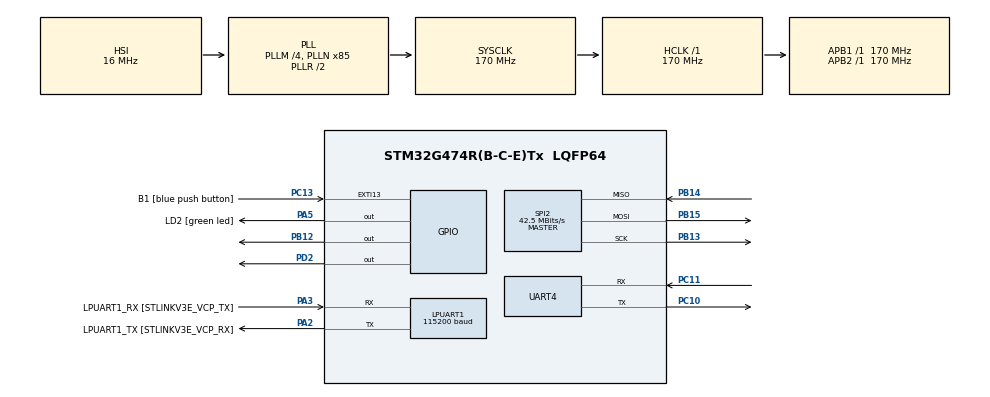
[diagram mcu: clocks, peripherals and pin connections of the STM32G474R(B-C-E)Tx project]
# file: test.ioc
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Mcu.Family=STM32G4
RCC.CortexFreq_Value=170000000
SPI2.VirtualType=VM_MASTER
PC10.Signal=UART4_TX
PA14.GPIO_Label=T_SWCLK
LPUART1.WordLength=UART_WORDLENGTH_8B
PC13.GPIO_Label=B1 [blue push button]
PB13.Signal=SPI2_SCK
PB15.Signal=SPI2_MOSI
RCC.SYSCLKSource=RCC_SYSCLKSOURCE_PLLCLK
ProjectManager.StackSize=0x400
RCC.HCLKFreq_Value=170000000
RCC.APB2TimFreq_Value=170000000
RCC.AHBFreq_Value=170000000
SPI2.BaudRatePrescaler=SPI_BAUDRATEPRESCALER_4
NVIC.EXTI15_10_IRQn=true\:0\:0\:false\:false\:true\:true\:true
RCC.HSE_VALUE=24000000
RCC.RTCClockSelection=RCC_RTCCLKSOURCE_LSE
RCC.ADC12Freq_Value=170000000
PA14.Mode=Serial_Wire
PB14.Mode=Full_Duplex_Master
SPI2.CalculateBaudRate=42.5 MBits/s
VP_SYS_VS_DBSignals.Mode=DisableDeadBatterySignals
Mcu.Package=LQFP64
SPI2.Mode=SPI_MODE_MASTER
PA2.GPIO_Label=LPUART1_TX [STLINKV3E_VCP_RX]
PC11.Mode=Asynchronous
RCC.APB1TimFreq_Value=170000000
SPI2.Direction=SPI_DIRECTION_2LINES
PB13.Mode=Full_Duplex_Master
PF1-OSC_OUT.Mode=HSE-External-Oscillator
PF1-OSC_OUT.Signal=RCC_OSC_OUT
RCC.HSI48_VALUE=48000000
PA3.Signal=LPUART1_RX
PB3.GPIO_Label=T_SWO
PC13.Signal=GPXTI13
PC11.Signal=UART4_RX
PC10.Mode=Asynchronous
RCC.EXTERNAL_CLOCK_VALUE=12288000
PC14-OSC32_IN.Signal=RCC_OSC32_IN
PA13.Signal=SYS_JTMS-SWDIO
PA3.Mode=Asynchronous
ProjectManager.TargetToolchain=STM32CubeIDE
RCC.USBFreq_Value=170000000
RCC.LSE_VALUE=32768
PC15-OSC32_OUT.Signal=RCC_OSC32_OUT
PF0-OSC_IN.Mode=HSE-External-Oscillator
PB14.Signal=SPI2_MISO
PA5.Signal=GPIO_Output
board=NUCLEO-G474RE
RCC.VCOOutputFreq_Value=340000000
PB15.Mode=Full_Duplex_Master
RCC.ADC345Freq_Value=170000000
RCC.APB2Freq_Value=170000000
PA13.Mode=Serial_Wire
Mcu.Name=STM32G474R(B-C-E)Tx
LPUART1.BaudRate=115200
PA13.GPIO_Label=T_SWDIO
PA2.Signal=LPUART1_TX
PB3.Signal=SYS_JTDO-SWO
RCC.SYSCLKFreq_VALUE=170000000
PA5.GPIO_Label=LD2 [green led]
PA14.Signal=SYS_JTCK-SWCLK
ProjectManager.HeapSize=0x200
RCC.HSI_VALUE=16000000
NVIC.PriorityGroup=NVIC_PRIORITYGROUP_4
RCC.PLLM=RCC_PLLM_DIV4
RCC.PLLN=85
PA2.Mode=Asynchronous
SPI2.DataSize=SPI_DATASIZE_8BIT
PF0-OSC_IN.Signal=RCC_OSC_IN
PD2.Signal=GPIO_Output
RCC.APB1Freq_Value=170000000
PB12.Signal=GPIO_Output
PA3.GPIO_Label=LPUART1_RX [STLINKV3E_VCP_TX]

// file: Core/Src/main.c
/* USER CODE BEGIN Header */
/**
  ******************************************************************************
  * @file           : main.c
  * @brief          : Main program body
  ******************************************************************************
  * @attention
  *
  * <h2><center>&copy; Copyright (c) 2021 STMicroelectronics.
  * All rights reserved.</center></h2>
  *
  * This software component is licensed by ST under BSD 3-Clause license,
  * the "License"; You may not use this file except in compliance with the
  * License. You may obtain a copy of the License at:
  *                        opensource.org/licenses/BSD-3-Clause
  *
  ******************************************************************************
  */
/* USER CODE END Header */
#include "main.h"

/* USER CODE BEGIN Includes */
#include "wizchip_conf.h"
#include "socket.h"
#include <string.h>
#include <stdio.h>
/* USER CODE END Includes */

/* USER CODE BEGIN PD */
#define SEPARATOR            "=============================================\r\n"
#define WELCOME_MSG  		 "WELCOME"
#define NETWORK_MSG  		 "Network configuration:\r\n"
#define IP_MSG 		 		 "  IP ADDRESS:  %d.%d.%d.%d\r\n"
#define NETMASK_MSG	         "  NETMASK:     %d.%d.%d.%d\r\n"
#define GW_MSG 		 		 "  GATEWAY:     %d.%d.%d.%d\r\n"
#define MAC_MSG		 		 "  MAC ADDRESS: %x:%x:%x:%x:%x:%x\r\n"
#define GREETING_MSG 		 "PING \r\n"
#define CONN_ESTABLISHED_MSG "Connection established with remote IP: %d.%d.%d.%d:%d\r\n"
#define SENT_MESSAGE_MSG	 "Sent a message\r\n"
#define WRONG_RETVAL_MSG	 "Something went wrong; return value: %d\r\n"
#define WRONG_STATUS_MSG	 "Something went wrong; STATUS: %d\r\n"
#define LISTEN_ERR_MSG		 "LISTEN Error!\r\n"

#define PRINT_STR(msg) do  {										\
  HAL_UART_Transmit(&huart4, (uint8_t*)msg, strlen(msg), 100);		\
} while(0)

#define PRINT_HEADER() do  {													\
  HAL_UART_Transmit(&huart4, (uint8_t*)SEPARATOR, strlen(SEPARATOR), 100);		\
  HAL_UART_Transmit(&huart4, (uint8_t*)WELCOME_MSG, strlen(WELCOME_MSG), 100);	\
  HAL_UART_Transmit(&huart4, (uint8_t*)SEPARATOR, strlen(SEPARATOR), 100);		\
} while(0)

#define PRINT_NETINFO(netInfo) do { 																					\
  HAL_UART_Transmit(&huart4, (uint8_t*)NETWORK_MSG, strlen(NETWORK_MSG), 100);											\
  sprintf(msg, MAC_MSG, netInfo.mac[0], netInfo.mac[1], netInfo.mac[2], netInfo.mac[3], netInfo.mac[4], netInfo.mac[5]);\
  HAL_UART_Transmit(&huart4, (uint8_t*)msg, strlen(msg), 100);															\
  sprintf(msg, IP_MSG, netInfo.ip[0], netInfo.ip[1], netInfo.ip[2], netInfo.ip[3]);										\
  HAL_UART_Transmit(&huart4, (uint8_t*)msg, strlen(msg), 100);															\
  sprintf(msg, NETMASK_MSG, netInfo.sn[0], netInfo.sn[1], netInfo.sn[2], netInfo.sn[3]);								\
  HAL_UART_Transmit(&huart4, (uint8_t*)msg, strlen(msg), 100);															\
  sprintf(msg, GW_MSG, netInfo.gw[0], netInfo.gw[1], netInfo.gw[2], netInfo.gw[3]);										\
  HAL_UART_Transmit(&huart4, (uint8_t*)msg, strlen(msg), 100);															\
} while(0)
/* USER CODE END PD */

UART_HandleTypeDef hlpuart1;
UART_HandleTypeDef huart4;

SPI_HandleTypeDef hspi2;

void SystemClock_Config(void);
static void MX_GPIO_Init(void);
static void MX_LPUART1_UART_Init(void);
static void MX_UART4_Init(void);
static void MX_SPI2_Init(void);
/* USER CODE BEGIN PFP */
void cs_sel() {
	HAL_GPIO_WritePin(GPIOB, GPIO_PIN_12, GPIO_PIN_RESET); //CS LOW
}

void cs_desel() {
	HAL_GPIO_WritePin(GPIOB, GPIO_PIN_12, GPIO_PIN_SET); //CS HIGH
}

uint8_t spi_rb(void) {
	uint8_t rbuf;
	HAL_SPI_Receive(&hspi2, &rbuf, 1, 0xFFFFFFFF);
	return rbuf;
}

void spi_wb(uint8_t b) {
	HAL_SPI_Transmit(&hspi2, &b, 1, 0xFFFFFFFF);
}
/* USER CODE END PFP */

int main(void)
{
  /* USER CODE BEGIN 1 */
	uint8_t retVal, sockStatus;
	  int16_t rcvLen;
	  uint8_t rcvBuf[20], bufSize[] = {2, 2, 2, 2};
	  char msg[60];
  /* USER CODE END 1 */

  /* MCU Configuration--------------------------------------------------------*/

  /* Reset of all peripherals, Initializes the Flash interface and the Systick. */
  HAL_Init();

  /* Configure the system clock */
  SystemClock_Config();

  /* Initialize all configured peripherals */
  MX_GPIO_Init();
  MX_LPUART1_UART_Init();
  MX_UART4_Init();
  MX_SPI2_Init();
  /* USER CODE BEGIN 2 */
  reg_wizchip_cs_cbfunc(cs_sel, cs_desel);
    reg_wizchip_spi_cbfunc(spi_rb, spi_wb);

    wizchip_init(bufSize, bufSize);
    wiz_NetInfo netInfo = { .mac 	= {0x00, 0x08, 0xdc, 0xab, 0xcd, 0xef},	// Mac address
                            .ip 	= {192, 168, 2, 192},					// IP address
                            .sn 	= {255, 255, 255, 0},					// Subnet mask
                            .gw 	= {192, 168, 2, 1}};					// Gateway address
    wizchip_setnetinfo(&netInfo);
    wizchip_getnetinfo(&netInfo);

  reconnect:
    /* Open socket 0 as TCP_SOCKET with port 5000 */
    if((retVal = socket(0, Sn_MR_UDP, 5000, 0)) == 0) {
  	  /* Put socket in LISTEN mode. This means we are creating a TCP server */
  	  if((retVal = listen(0)) == SOCK_OK) {
  		  /* While socket is in LISTEN mode we wait for a remote connection */
  		  while(sockStatus = getSn_SR(0) == SOCK_LISTEN)
  			  HAL_Delay(100);
  		  /* OK. Got a remote peer. Let's send a message to it */
  		  while(1) {
  			  /* If connection is ESTABLISHED with remote peer */
  			  if(sockStatus = getSn_SR(0) == SOCK_ESTABLISHED) {
  				  uint8_t remoteIP[4];
  				  uint16_t remotePort;
  				  /* Retrieving remote peer IP and port number */
  				  getsockopt(0, SO_DESTIP, remoteIP);
  				  getsockopt(0, SO_DESTPORT, (uint8_t*)&remotePort);
  				  sprintf(msg, CONN_ESTABLISHED_MSG, remoteIP[0], remoteIP[1], remoteIP[2], remoteIP[3], remotePort);
  				  HAL_UART_Transmit(&huart4, (uint8_t*)msg, strlen(msg), 100);
  				  /* Let's send a welcome message and closing socket */
  				  if(retVal = send(0, GREETING_MSG, strlen(GREETING_MSG)) == (int16_t)strlen(GREETING_MSG))
  					HAL_UART_Transmit(&huart4, (uint8_t*)SENT_MESSAGE_MSG, strlen(SENT_MESSAGE_MSG), 100);
  				  else { /* Ops: something went wrong during data transfer */
  					  sprintf(msg, WRONG_RETVAL_MSG, retVal);
  					  HAL_UART_Transmit(&huart4, (uint8_t*)msg, strlen(msg), 100);
  				  }
  				  break;
  			  }
  			  else { /* Something went wrong with remote peer, maybe the connection was closed unexpectedly */
  				  sprintf(msg, WRONG_STATUS_MSG, sockStatus);
  				  HAL_UART_Transmit(&huart4, (uint8_t*)msg, strlen(msg), 100);
  				  break;
  			  }
  		  }

  	  } else /* Ops: socket not in LISTEN mode. Something went wrong */
  		  PRINT_STR(LISTEN_ERR_MSG);
    } else { /* Can't open the socket. This means something is wrong with W5100 configuration: maybe SPI issue? */
  	  sprintf(msg, WRONG_RETVAL_MSG, retVal);
  	  HAL_UART_Transmit(&huart4, (uint8_t*)msg, strlen(msg), 100);
    }

    /* We close the socket and start a connection again */
    disconnect(0);
    close(0);
    goto reconnect;
  /* USER CODE END 2 */

  /* Infinite loop */
  while (1)
  {

  }
}

void SystemClock_Config(void)
{
  RCC_OscInitTypeDef RCC_OscInitStruct = {0};
  RCC_ClkInitTypeDef RCC_ClkInitStruct = {0};
  RCC_PeriphCLKInitTypeDef PeriphClkInit = {0};

  /** Configure the main internal regulator output voltage
  */
  HAL_PWREx_ControlVoltageScaling(PWR_REGULATOR_VOLTAGE_SCALE1_BOOST);
  /** Initializes the RCC Oscillators according to the specified parameters
  * in the RCC_OscInitTypeDef structure.
  */
  RCC_OscInitStruct.OscillatorType = RCC_OSCILLATORTYPE_HSI;
  RCC_OscInitStruct.HSIState = RCC_HSI_ON;
  RCC_OscInitStruct.HSICalibrationValue = RCC_HSICALIBRATION_DEFAULT;
  RCC_OscInitStruct.PLL.PLLState = RCC_PLL_ON;
  RCC_OscInitStruct.PLL.PLLSource = RCC_PLLSOURCE_HSI;
  RCC_OscInitStruct.PLL.PLLM = RCC_PLLM_DIV4;
  RCC_OscInitStruct.PLL.PLLN = 85;
  RCC_OscInitStruct.PLL.PLLP = RCC_PLLP_DIV2;
  RCC_OscInitStruct.PLL.PLLQ = RCC_PLLQ_DIV2;
  RCC_OscInitStruct.PLL.PLLR = RCC_PLLR_DIV2;
  if (HAL_RCC_OscConfig(&RCC_OscInitStruct) != HAL_OK)
  {
    Error_Handler();
  }
  /** Initializes the CPU, AHB and APB buses clocks
  */
  RCC_ClkInitStruct.ClockType = RCC_CLOCKTYPE_HCLK|RCC_CLOCKTYPE_SYSCLK
                              |RCC_CLOCKTYPE_PCLK1|RCC_CLOCKTYPE_PCLK2;
  RCC_ClkInitStruct.SYSCLKSource = RCC_SYSCLKSOURCE_PLLCLK;
  RCC_ClkInitStruct.AHBCLKDivider = RCC_SYSCLK_DIV1;
  RCC_ClkInitStruct.APB1CLKDivider = RCC_HCLK_DIV1;
  RCC_ClkInitStruct.APB2CLKDivider = RCC_HCLK_DIV1;

  if (HAL_RCC_ClockConfig(&RCC_ClkInitStruct, FLASH_LATENCY_4) != HAL_OK)
  {
    Error_Handler();
  }
  /** Initializes the peripherals clocks
  */
  PeriphClkInit.PeriphClockSelection = RCC_PERIPHCLK_UART4|RCC_PERIPHCLK_LPUART1;
  PeriphClkInit.Uart4ClockSelection = RCC_UART4CLKSOURCE_PCLK1;
  PeriphClkInit.Lpuart1ClockSelection = RCC_LPUART1CLKSOURCE_PCLK1;
  if (HAL_RCCEx_PeriphCLKConfig(&PeriphClkInit) != HAL_OK)
  {
    Error_Handler();
  }
}

static void MX_LPUART1_UART_Init(void)
{

  hlpuart1.Instance = LPUART1;
  hlpuart1.Init.BaudRate = 115200;
  hlpuart1.Init.WordLength = UART_WORDLENGTH_8B;
  hlpuart1.Init.StopBits = UART_STOPBITS_1;
  hlpuart1.Init.Parity = UART_PARITY_NONE;
  hlpuart1.Init.Mode = UART_MODE_TX_RX;
  hlpuart1.Init.HwFlowCtl = UART_HWCONTROL_NONE;
  hlpuart1.Init.OneBitSampling = UART_ONE_BIT_SAMPLE_DISABLE;
  hlpuart1.Init.ClockPrescaler = UART_PRESCALER_DIV1;
  hlpuart1.AdvancedInit.AdvFeatureInit = UART_ADVFEATURE_NO_INIT;
  if (HAL_UART_Init(&hlpuart1) != HAL_OK)
  {
    Error_Handler();
  }
  if (HAL_UARTEx_SetTxFifoThreshold(&hlpuart1, UART_TXFIFO_THRESHOLD_1_8) != HAL_OK)
  {
    Error_Handler();
  }
  if (HAL_UARTEx_SetRxFifoThreshold(&hlpuart1, UART_RXFIFO_THRESHOLD_1_8) != HAL_OK)
  {
    Error_Handler();
  }
  if (HAL_UARTEx_DisableFifoMode(&hlpuart1) != HAL_OK)
  {
    Error_Handler();
  }

}

static void MX_UART4_Init(void)
{

  huart4.Instance = UART4;
  huart4.Init.BaudRate = 115200;
  huart4.Init.WordLength = UART_WORDLENGTH_8B;
  huart4.Init.StopBits = UART_STOPBITS_1;
  huart4.Init.Parity = UART_PARITY_NONE;
  huart4.Init.Mode = UART_MODE_TX_RX;
  huart4.Init.HwFlowCtl = UART_HWCONTROL_NONE;
  huart4.Init.OverSampling = UART_OVERSAMPLING_16;
  huart4.Init.OneBitSampling = UART_ONE_BIT_SAMPLE_DISABLE;
  huart4.Init.ClockPrescaler = UART_PRESCALER_DIV1;
  huart4.AdvancedInit.AdvFeatureInit = UART_ADVFEATURE_NO_INIT;
  if (HAL_UART_Init(&huart4) != HAL_OK)
  {
    Error_Handler();
  }
  if (HAL_UARTEx_SetTxFifoThreshold(&huart4, UART_TXFIFO_THRESHOLD_1_8) != HAL_OK)
  {
    Error_Handler();
  }
  if (HAL_UARTEx_SetRxFifoThreshold(&huart4, UART_RXFIFO_THRESHOLD_1_8) != HAL_OK)
  {
    Error_Handler();
  }
  if (HAL_UARTEx_DisableFifoMode(&huart4) != HAL_OK)
  {
    Error_Handler();
  }

}

static void MX_SPI2_Init(void)
{

  /* SPI2 parameter configuration*/
  hspi2.Instance = SPI2;
  hspi2.Init.Mode = SPI_MODE_MASTER;
  hspi2.Init.Direction = SPI_DIRECTION_2LINES;
  hspi2.Init.DataSize = SPI_DATASIZE_8BIT;
  hspi2.Init.CLKPolarity = SPI_POLARITY_LOW;
  hspi2.Init.CLKPhase = SPI_PHASE_1EDGE;
  hspi2.Init.NSS = SPI_NSS_SOFT;
  hspi2.Init.BaudRatePrescaler = SPI_BAUDRATEPRESCALER_4;
  hspi2.Init.FirstBit = SPI_FIRSTBIT_MSB;
  hspi2.Init.TIMode = SPI_TIMODE_DISABLE;
  hspi2.Init.CRCCalculation = SPI_CRCCALCULATION_DISABLE;
  hspi2.Init.CRCPolynomial = 7;
  hspi2.Init.CRCLength = SPI_CRC_LENGTH_DATASIZE;
  hspi2.Init.NSSPMode = SPI_NSS_PULSE_ENABLE;
  if (HAL_SPI_Init(&hspi2) != HAL_OK)
  {
    Error_Handler();
  }

}

static void MX_GPIO_Init(void)
{
  GPIO_InitTypeDef GPIO_InitStruct = {0};

  /* GPIO Ports Clock Enable */
  __HAL_RCC_GPIOC_CLK_ENABLE();
  __HAL_RCC_GPIOF_CLK_ENABLE();
  __HAL_RCC_GPIOA_CLK_ENABLE();
  __HAL_RCC_GPIOB_CLK_ENABLE();
  __HAL_RCC_GPIOD_CLK_ENABLE();

  /*Configure GPIO pin Output Level */
  HAL_GPIO_WritePin(LD2_GPIO_Port, LD2_Pin, GPIO_PIN_RESET);

  /*Configure GPIO pin Output Level */
  HAL_GPIO_WritePin(GPIOB, GPIO_PIN_12, GPIO_PIN_RESET);

  /*Configure GPIO pin Output Level */
  HAL_GPIO_WritePin(GPIOD, GPIO_PIN_2, GPIO_PIN_RESET);

  /*Configure GPIO pin : B1_Pin */
  GPIO_InitStruct.Pin = B1_Pin;
  GPIO_InitStruct.Mode = GPIO_MODE_IT_RISING;
  GPIO_InitStruct.Pull = GPIO_NOPULL;
  HAL_GPIO_Init(B1_GPIO_Port, &GPIO_InitStruct);

  /*Configure GPIO pin : LD2_Pin */
  GPIO_InitStruct.Pin = LD2_Pin;
  GPIO_InitStruct.Mode = GPIO_MODE_OUTPUT_PP;
  GPIO_InitStruct.Pull = GPIO_NOPULL;
  GPIO_InitStruct.Speed = GPIO_SPEED_FREQ_LOW;
  HAL_GPIO_Init(LD2_GPIO_Port, &GPIO_InitStruct);

  /*Configure GPIO pin : PB12 */
  GPIO_InitStruct.Pin = GPIO_PIN_12;
  GPIO_InitStruct.Mode = GPIO_MODE_OUTPUT_PP;
  GPIO_InitStruct.Pull = GPIO_NOPULL;
  GPIO_InitStruct.Speed = GPIO_SPEED_FREQ_LOW;
  HAL_GPIO_Init(GPIOB, &GPIO_InitStruct);

  /*Configure GPIO pin : PD2 */
  GPIO_InitStruct.Pin = GPIO_PIN_2;
  GPIO_InitStruct.Mode = GPIO_MODE_OUTPUT_PP;
  GPIO_InitStruct.Pull = GPIO_NOPULL;
  GPIO_InitStruct.Speed = GPIO_SPEED_FREQ_LOW;
  HAL_GPIO_Init(GPIOD, &GPIO_InitStruct);

  /* EXTI interrupt init*/
  HAL_NVIC_SetPriority(EXTI15_10_IRQn, 0, 0);
  HAL_NVIC_EnableIRQ(EXTI15_10_IRQn);

}

void Error_Handler(void)
{
  __disable_irq();
  while (1)
  {
  }
}

/************************ (C) COPYRIGHT STMicroelectronics *****END OF FILE****/
